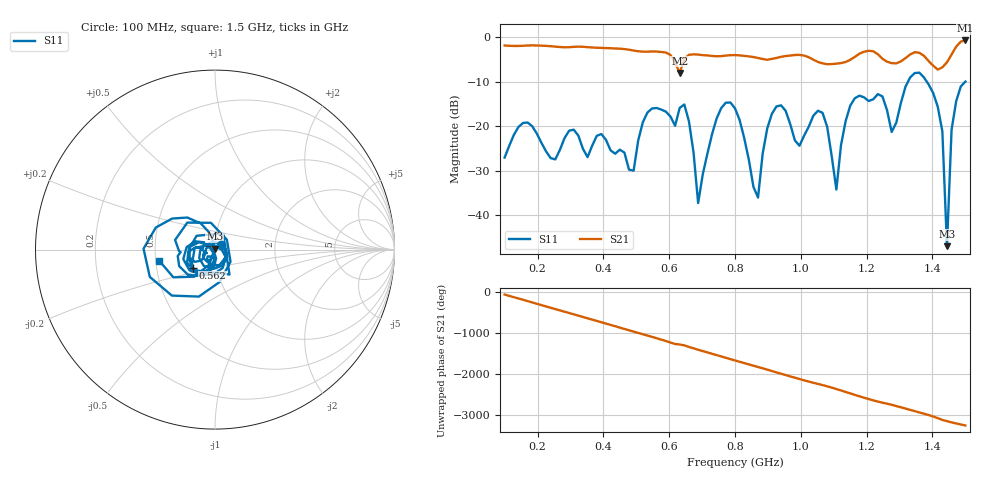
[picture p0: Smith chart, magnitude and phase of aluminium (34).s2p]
! NanoVNA-App
! Date: 2025-09-26 09:58:19
! Start: 100MHz Stop: 1,5GHz Points: 101
! S-Parameter data: F S11 S21 S12 S22
# Hz S RI R 50
!  Frequency  S11_Real  S11_Imag  S21_Real  S21_Imag  S12_Real  S12_Imag  S22_Real  S22_Imag
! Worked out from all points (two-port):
!   101 points, 100 MHz to 1.5 GHz, reference 50 ohm
!   highest |S21| = -0.79 dB at 1.5 GHz (marker M1); lowest = -8.1 dB at 632 MHz (marker M2)
!   |S21| within 3 dB of the highest: start of sweep to 597.5 MHz; 1.177 GHz to 1.232 GHz (54.79 MHz wide, 4.55 % of centre)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
!   lowest |S11| = -46.9 dB at 1.444 GHz (marker M3), VSWR 1.01, Z = 49.9 + j0.435 ohm
!   |S11| at or under -10 dB: start of sweep to 1.326 GHz; 1.382 GHz to 1.5 GHz (117.5 MHz wide, 8.15 % of centre)
!   S12 and S22 are empty: the file has one direction only
!   S11 on the Smith chart (normalised r, x): 100 MHz: 1.07, +0.06; 562 MHz: 0.77, -0.16; 1.5 GHz: 0.52, -0.07
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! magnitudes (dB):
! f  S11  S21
! 100 MHz  -27.0  -1.9
! 338 MHz  -25.1  -2.2
! 492 MHz  -29.9  -3.1
! 562 MHz  -15.9  -3.3
! 576 MHz  -16.3  -3.4
! 632 MHz  -15.9  -8.1
! 660 MHz  -18.9  -4.0
! 688 MHz  -37.2  -4.0
! 744 MHz  -18.3  -4.3
! 800 MHz  -16.0  -4.1
! 870 MHz  -36.0  -4.7
! 926 MHz  -15.6  -4.7
! 1.038 GHz  -17.6  -5.1
! 1.108 GHz  -34.2  -6.0
! 1.164 GHz  -13.7  -4.5
! 1.276 GHz  -21.3  -5.9
! 1.346 GHz  -8.1  -3.4
! 1.402 GHz  -12.5  -6.4
! 1.43 GHz  -21.1  -6.8
! 1.444 GHz  -46.9  -5.7
! 1.458 GHz  -20.8  -4.0
! 1.5 GHz  -10.0  -0.8
